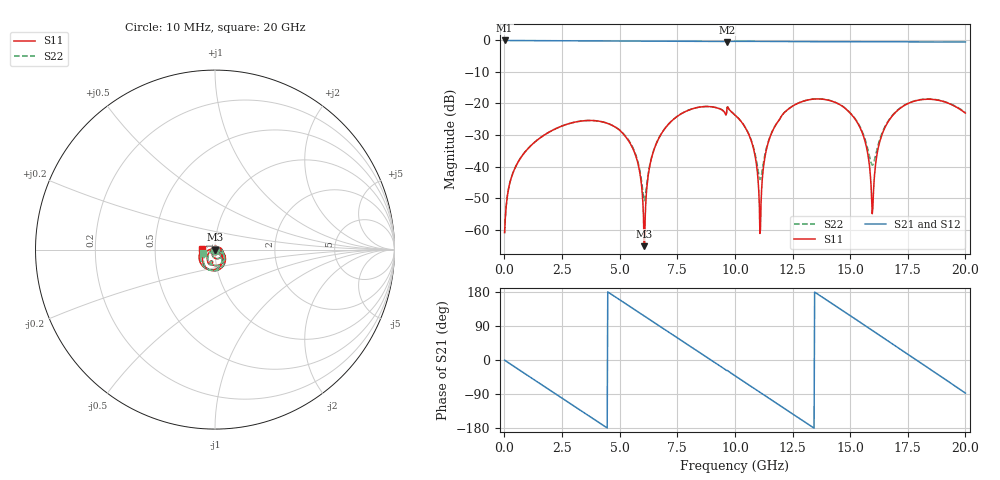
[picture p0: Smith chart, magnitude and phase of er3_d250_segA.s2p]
! Stitch-rule transferability - stripline, 2 mm stitch pitch, cut at x=20 mm
! Case: er3_d250_segA
! Sweep: 10 MHz - 20 GHz, 25 MHz step, 4 cores
# GHz S MA R 50.000000
! Terminal data exported
! Port[1] = U1.PAD1.SIG
! Port[2] = U2.PAD1.SIG
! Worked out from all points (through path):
!   801 points, 10 MHz to 20 GHz, reference 50 ohm
!   highest |S21| = -0.01 dB at 10 MHz (marker M1); lowest = -0.5 dB at 9.66 GHz (marker M2)
!   group delay of S21, straight-line fit = 112 ps
!   lowest |S11| = -65.2 dB at 6.06 GHz (marker M3), VSWR 1.00, Z = 50 - j0.0378 ohm
!   |S11| at or under -10 dB: start of sweep to end of sweep
!   |S22| runs from -61.0 to -18.5 dB; largest |S21 - S12| = 0
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0.01  0.0008959 36.0  0.9992 -0.4  0.9992 -0.4  0.0008959 36.0
0.285  0.006386 58.8  0.9969 -11.6  0.9969 -11.6  0.006394 58.5
0.835  0.01598 46.6  0.9942 -33.8  0.9942 -33.8  0.01601 45.8
2.11  0.03799 2.3  0.9892 -85.1  0.9892 -85.1  0.03804 0.9
3.36  0.05286 -45.6  0.9848 -135.2  0.9848 -135.2  0.05289 -46.7
5.36  0.02649 -125.5  0.9804 144.6  0.9804 144.6  0.02726 -121.8
5.81  0.01061 -142.7  0.9795 126.5  0.9795 126.5  0.01124 -130.7
6.06  0.0005464 -136.1  0.9791 116.5  0.9791 116.5  0.002908 -76.5
6.685  0.0274 1.4  0.9772 91.3  0.9772 91.3  0.02761 -5.3
8.31  0.08537 -63.6  0.9701 26.2  0.9701 26.2  0.08556 -64.6
9.66  0.08559 -102.0  0.9444 -27.5  0.9444 -27.5  0.08613 -100.0
10.01  0.06527 -131.7  0.9676 -41.8  0.9676 -41.8  0.06553 -128.1
10.735  0.02392 -161.9  0.9679 -71.1  0.9679 -71.1  0.02468 -147.5
11.11  0.001011 27.5  0.9674 -86.2  0.9674 -86.2  0.006289 -78.0
11.685  0.04009 -18.7  0.9644 -109.5  0.9644 -109.5  0.04051 -27.9
13.36  0.1169 -87.1  0.9558 -176.8  0.9558 -176.8  0.1172 -86.8
15.26  0.05352 -165.2  0.957 106.7  0.957 106.7  0.05451 -153.4
15.685  0.02218 174.6  0.9573 89.3  0.9573 89.3  0.02447 -155.4
15.96  0.001783 95.3  0.957 78.1  0.957 78.1  0.01056 -104.4
16.685  0.05392 -40.4  0.9538 48.5  0.9538 48.5  0.05517 -50.7
18.235  0.1164 -106.5  0.9453 -14.7  0.9453 -14.7  0.1174 -103.4
20  0.0705 175.4  0.9456 -87.4  0.9456 -87.4  0.07167 -165.5
